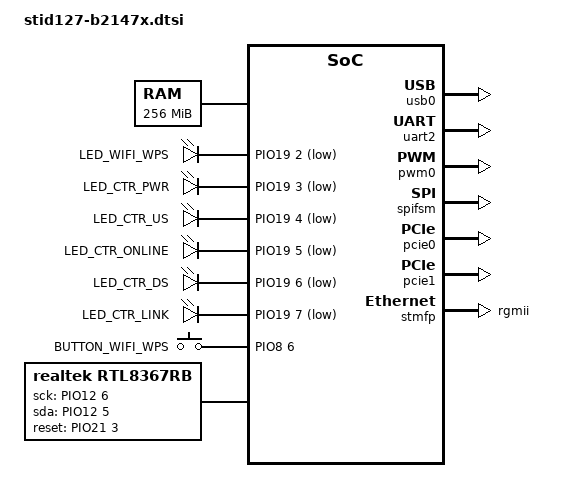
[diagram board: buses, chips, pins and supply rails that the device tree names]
/*
 * Copyright (C) 2013 STMicroelectronics Limited.
 * Author: Nunzio Raciti <nunzio.raciti@st.com>
 * Author: Giuseppe Cavallaro <peppe.cavallaro@st.com>
 * This program is free software; you can redistribute it and/or modify
 * it under the terms of the GNU General Public License version 2 as
 * publishhed by the Free Software Foundation.
 */

/ {
	memory{
		device_type = "memory";
		reg = <0x40000000 0x10000000>;
	};

	chosen {
		bootargs = "";
		linux,stdout-path = &uart2;
	};

	aliases {
		/* UART2 - JST_XH4 */
		ttyAS0 = &uart2;
		usb0	= &usb0;
	};

	soc {
		/* USB - CN5 */
		usb0: usb@fe800000{
			status = "okay";
		};

		uart2:uart@fe532000{
			status = "okay";
		};

		leds {
			compatible	= "gpio-leds";
			led_wifi_wps {
				label	= "LED_WIFI_WPS";
				gpios	= <&PIO19 2 1>;
				default-state = "off";
			};
			led_ctr_pwr {
				label	= "LED_CTR_PWR";
				gpios	= <&PIO19 3 1>;
				default-state = "off";
			};
			led_ctr_us {
				label	= "LED_CTR_US";
				gpios	= <&PIO19 4 1>;
				default-state = "off";
			};
			led_ctr_online {
				label	= "LED_CTR_ONLINE";
				gpios	= <&PIO19 5 1>;
				default-state = "off";
			};
			led_ctr_ds {
				label	= "LED_CTR_DS";
				gpios	= <&PIO19 6 1>;
				default-state = "off";
			};
			led_ctr_link {
				label	= "LED_CTR_LINK";
				gpios	= <&PIO19 7 1>;
				default-state = "off";
			};
		};

		gpio_keys {
			compatible = "gpio-keys";
			button_wifi_wps {
				label = "BUTTON_WIFI_WPS";
				linux,code = <122>;
				gpios = <&PIO8 6 0>;
			};
		};

		/* AVS_PWM */
		pwm0: pwm@fe510000{
			status = "okay";
			pwm-channel@0 {
				status = "okay";
			};
		};

		spifsm: spifsm@fe302000 {
			status = "okay";
			flash-name = "n25q512";
			partitions = <&b2147_fsm_partitions>;

			b2147_fsm_partitions: partitions-b2147 {
				#address-cells = <1>;
				#size-cells = <1>;
				partition@0 {
					label = "boot";
					reg = <0x00000000 0x01e00000>; /* 30 MB */
				};
				partition@1e00000 {
					label = "nvm";
					reg = <0x01e00000 0x00100000>;  /* 1 MB */
				};
				partition@1f00000 {
					label = "rest";             /* presently unused */
					reg = <0x01f00000 0x02100000>;
				};
			};
		};

		miphy0: miphy@fef24000 {
			status = "okay";
			miphy-modes	= "pcie";
		};

		pcie0: pcie@fef20000{
			status = "okay";
		};

		miphy1: miphy@fef34000 {
			status = "okay";
			miphy-modes	= "pcie";
		};

		pcie1: pcie@fef30000{
			status = "okay";
		};
		stmfp:ethernet@fee80000 {
			status = "okay";
			device-config = <&fprgmii_dev_config>;
			phy-mode = "rgmii";

			fpdocsis{
				st,phy-bus-name = "fixed";
				st,phy-bus-id = <0>;
				st,phy-addr = <2>;
			};

			fpgige0{
				st,phy-bus-name = "fixed";
				st,phy-bus-id = <0>;
				st,phy-addr = <3>;
			};

			fpgige1{
				st,phy-bus-name = "fixed";
				st,phy-bus-id = <0>;
				st,phy-addr = <1>;
			};
		};

		realtek: rtl8367rb {
			compatible	= "realtek,rtl8367rb";
			gpio-sck	= <&PIO12 6 0>;
			gpio-sda	= <&PIO12 5 0>;
			gpio-reset	= <&PIO21 3 0>;

			rtl8367rb,extif1;
			rtl8367rb,extif1-mode = <1>;	// RGMII
			rtl8367rb,extif1-txdelay = <0>;
			rtl8367rb,extif1-rxdelay = <1>;
			rtl8367rb,extif1-force_mode = <1>;
			rtl8367rb,extif1-txpause = <1>;
			rtl8367rb,extif1-rxpause = <1>;
			rtl8367rb,extif1-link = <1>;
			rtl8367rb,extif1-duplex = <1>;
			rtl8367rb,extif1-speed = <2>;

			rtl8367rb,extif2;
			rtl8367rb,extif2-mode = <1>;	// RGMII
			rtl8367rb,extif2-txdelay = <0>;
			rtl8367rb,extif2-rxdelay = <1>;
			rtl8367rb,extif2-force_mode = <1>;
			rtl8367rb,extif2-txpause = <1>;
			rtl8367rb,extif2-rxpause = <1>;
			rtl8367rb,extif2-link = <1>;
			rtl8367rb,extif2-duplex = <1>;
			rtl8367rb,extif2-speed = <2>;
		};
	};
};
